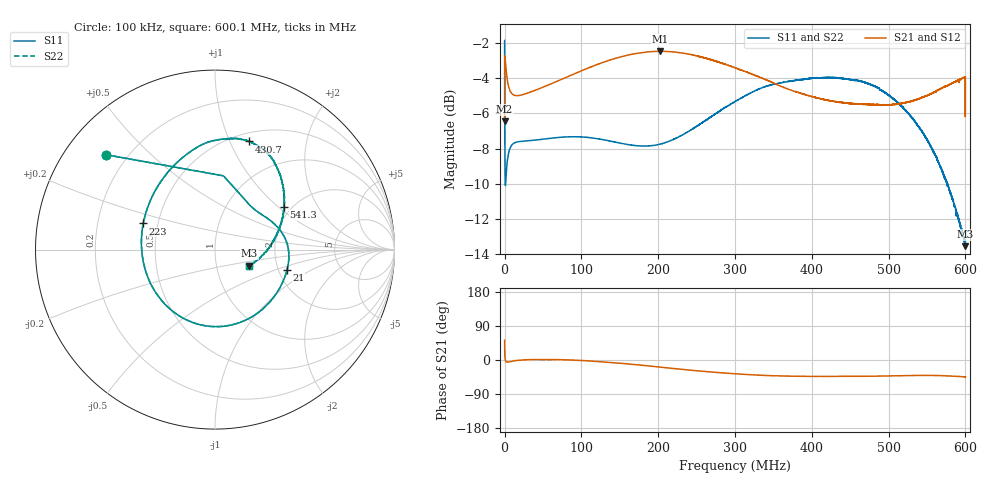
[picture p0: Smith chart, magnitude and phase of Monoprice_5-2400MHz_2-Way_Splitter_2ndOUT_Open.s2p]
! ListType=Lin
! Comment=Monoprice_5-2400MHz_2-Way_Splitter_2ndOUT_Open
# MHZ S DB R 50
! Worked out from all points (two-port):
!   6000 points, 100 kHz to 600.1 MHz, reference 50 ohm
!   highest |S21| = -2.48 dB at 202.4 MHz (marker M1); lowest = -6.5 dB at 100 kHz (marker M2)
!   |S21| within 3 dB of the highest: 131.9 kHz to 456.9 MHz (456.7 MHz wide, 200 % of centre); 511.9 MHz to 600 MHz (88.07 MHz wide, 15.8 % of centre) (the widest 2 of 22)
!   lowest |S11| = -13.5 dB at 599.9 MHz (marker M3), VSWR 1.53, Z = 72 - j13.4 ohm
!   |S11| at or under -10 dB: 906.6 kHz to 1.403 MHz (496.7 kHz wide, 43 % of centre); 576.4182 MHz to 576.9919 MHz (573.7 kHz wide, 0.0995 % of centre); 577 MHz to end of sweep (the widest 3 of 4)
!   |S22| runs from -13.5 to -1.9 dB; largest |S21 - S12| = 0.011
!   S11 on the Smith chart (normalised r, x): 100 kHz: 0.12, +0.37; 21 MHz: 2.22, -0.61; 223 MHz: 0.41, +0.15; 430.7 MHz: 0.59, +1.19; 541.3 MHz: 1.83, +1.09; 600.1 MHz: 1.44, -0.27
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0.1  -1.86 139.0  -6.46 51.9  -6.46 51.9  -1.86 139.1
3.200517  -8.88 23.7  -3.97 -5.5  -3.97 -5.5  -8.88 23.7
4.3007  -8.49 17.5  -4.28 -5.6  -4.29 -5.6  -8.49 17.5
9.7016  -7.79 1.5  -4.90 -3.4  -4.90 -3.4  -7.79 1.5
21.00348  -7.60 -15.8  -4.97 -0.2  -4.97 -0.2  -7.60 -15.8
60.81012  -7.41 -56.1  -4.32 1.3  -4.32 1.3  -7.42 -56.1
100.1167  -7.34 -90.2  -3.59 -1.3  -3.59 -1.3  -7.35 -90.2
144.024  -7.63 -127.7  -2.88 -7.4  -2.88 -7.4  -7.64 -127.7
172.6288  -7.84 -153.7  -2.59 -12.7  -2.59 -12.7  -7.84 -153.7
200.1333  -7.77 -179.5  -2.48 -18.3  -2.48 -18.3  -7.78 -179.5
202.4337  -7.75 178.4  -2.48 -18.8  -2.48 -18.8  -7.75 178.4
223.0372  -7.42 160.0  -2.52 -23.1  -2.52 -23.1  -7.42 160.0
262.0437  -6.39 130.7  -2.87 -30.4  -2.87 -30.4  -6.39 130.7
300.15  -5.34 110.1  -3.42 -36.3  -3.42 -36.3  -5.34 110.2
342.7571  -4.44 93.7  -4.14 -41.0  -4.13 -41.0  -4.44 93.7
400.1667  -3.99 79.0  -5.04 -43.2  -5.04 -43.3  -4.00 79.1
430.6718  -3.98 72.4  -5.34 -43.2  -5.34 -43.3  -3.98 72.4
500.1833  -4.98 51.3  -5.51 -42.1  -5.52 -42.1  -4.98 51.4
541.2902  -6.88 31.7  -5.15 -40.7  -5.15 -40.7  -6.85 31.8
570.295  -9.29 11.2  -4.55 -41.3  -4.54 -41.3  -9.35 11.3
599.9  -13.55 -25.1  -3.93 -44.7  -3.95 -44.6  -13.51 -25.1
600.1  -13.48 -25.4  -3.94 -44.7  -3.94 -44.6  -13.50 -25.8
